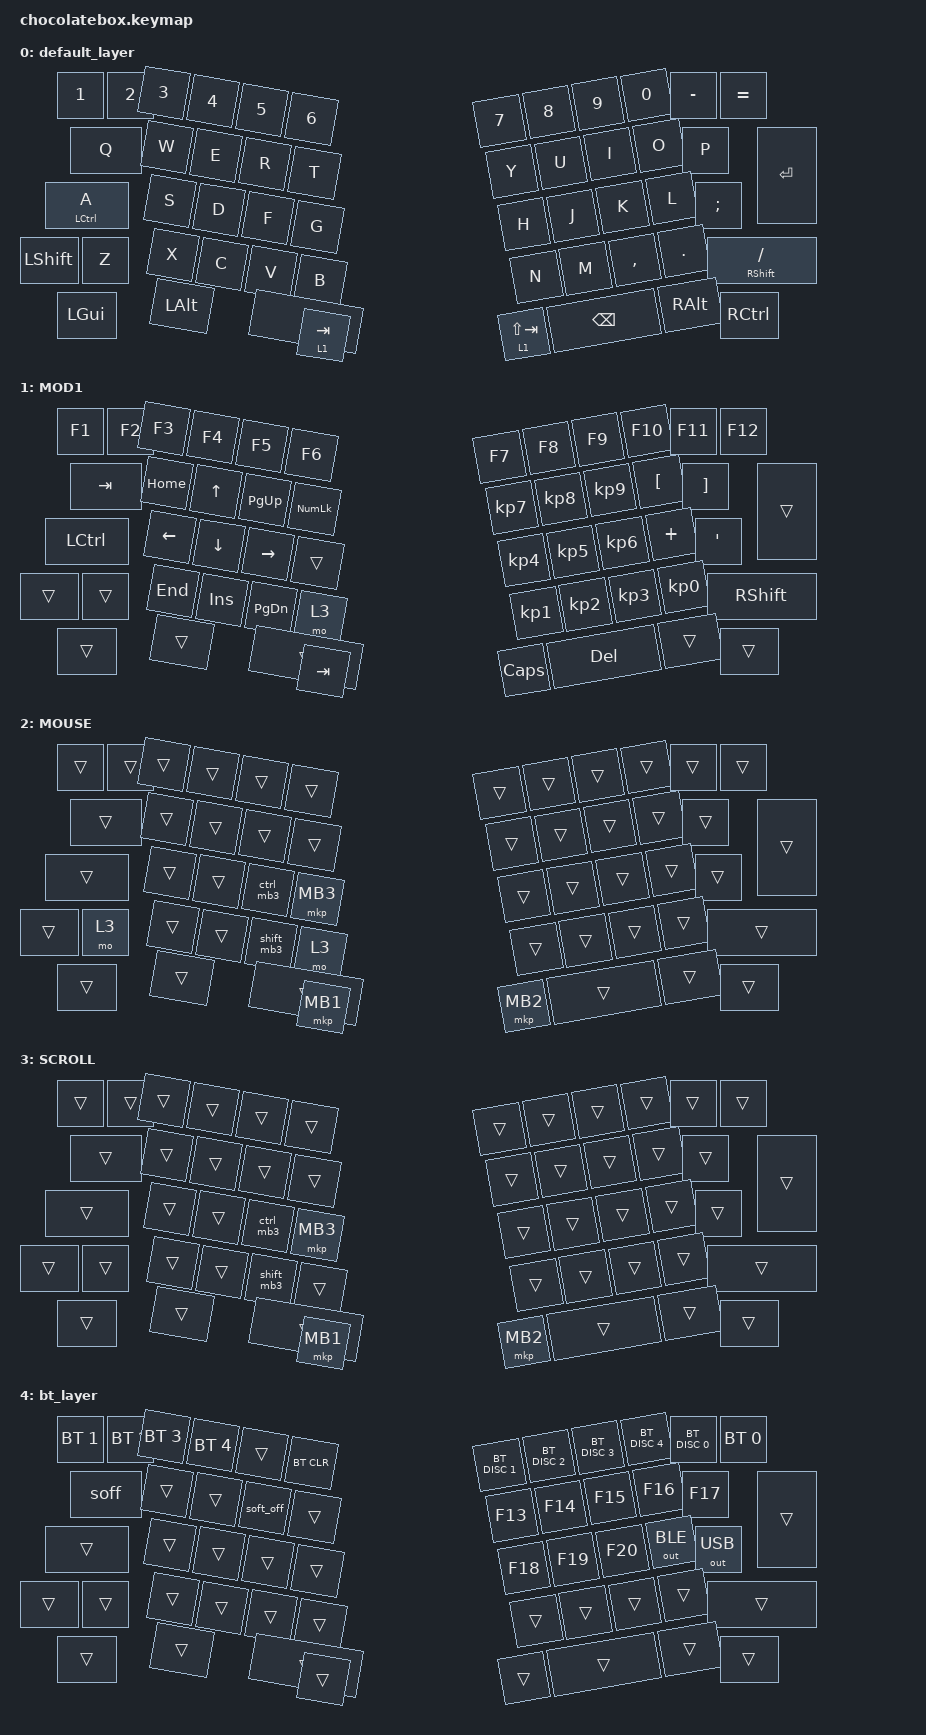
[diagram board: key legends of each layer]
#include <dt-bindings/zmk/mouse.h>
#include <behaviors.dtsi>
#include <dt-bindings/zmk/bt.h>
#include <dt-bindings/zmk/keys.h>
#include <dt-bindings/zmk/outputs.h>
#include <dt-bindings/zmk/pointing.h>

#define BASE   0
#define MOD1   1
#define MOUSE  2
#define SCROLL 3
#define BT_LAYER 4
#define CAD_MOUSE 5

&mt {
    flavor = "tap-preferred";
    tapping-term-ms = <225>;
    quick-tap-ms = <200>;
    require-prior-idle-ms = <150>;
};

&lt {
    flavor = "balanced";
    tapping-term-ms = <175>;
    quick-tap-ms = <200>;
};

/ {
    behaviors {
        soff: soft_off {
            compatible = "zmk,behavior-soft-off";
            #binding-cells = <0>;
            hold-time-ms = <3000>;
        };

        lt_atok: lt_atok {
            compatible = "zmk,behavior-hold-tap";
            label = "LT_ATOK";
            bindings = <&lt>, <&atok>;

            #binding-cells = <2>;
            tapping-term-ms = <250>;
        };
    };

    combos {
        compatible = "zmk,combos";

        Combo1 {
            bindings = <&kp ESCAPE>;
            key-positions = <0 1>;
            layers = <0>;
        };

        rbkt {
            bindings = <&kp RBKT>;
            key-positions = <20 21>;
            layers = <0>;
        };

        lbkt {
            bindings = <&kp LBKT>;
            key-positions = <19 20>;
            layers = <0>;
        };

        grave {
            bindings = <&kp GRAVE>;
            key-positions = <9 10>;
            layers = <0>;
        };

        backslash {
            bindings = <&kp BSLH>;
            key-positions = <10 11>;
            layers = <0>;
        };

        bt_layer {
            bindings = <&mo 4>;
            key-positions = <47 48>;
            layers = <0>;
        };

        scroll_layer {
            bindings = <&mo 3>;
            key-positions = <38 47>;
            layers = <2>;
        };

        esc_mouse {
            bindings = <&kp ESCAPE>;
            key-positions = <0 1>;
            layers = <2>;
        };

        codeclick {
            bindings = <&kp F4>;
            key-positions = <27 28>;
            layers = <2>;
        };
    };

    macros {
        atok: atok {
            compatible = "zmk,behavior-macro";
            #binding-cells = <0>;
            bindings =
                <&macro_press>,
                <&kp LCTRL>,
                <&macro_tap>,
                <&kp SPACE>,
                <&macro_release>,
                <&kp LCTRL>;
        };

        shift_mb3: shift_mb3 {
            compatible = "zmk,behavior-macro";
            #binding-cells = <0>;
            bindings =
                <&macro_press>,
                <&kp LSHFT &mkp MB3>,
                <&macro_pause_for_release>,
                <&macro_release>,
                <&mkp MB3 &kp LSHFT>;
        };

        tab_fwd: tab_fwd {
            compatible = "zmk,behavior-macro";
            #binding-cells = <0>;
            bindings = <&kp LALT &kp LSHIFT &kp PAGE_DOWN>;
            label = "TAB_FWD";
        };

        tab_back: tab_back {
            compatible = "zmk,behavior-macro";
            #binding-cells = <0>;
            bindings = <&kp LEFT_ALT &kp LSHIFT &kp PG_UP>;
            label = "TAB_BACK";
        };

        ctrl_mb3: ctrl_mb3 {
            compatible = "zmk,behavior-macro";
            #binding-cells = <0>;
            bindings =
                <&macro_press>,
                <&kp LCTRL &mkp MB3>,
                <&macro_pause_for_release>,
                <&macro_release>,
                <&mkp MB3 &kp LCTRL>;

            label = "CTRL_MB3";
        };
    };

    keymap {
        compatible = "zmk,keymap";

        default_layer {
            bindings = <
&kp N1      &kp N2       &kp N3    &kp N4  &kp N5     &kp N6     &kp N7         &kp N8    &kp N9     &kp N0    &kp MINUS         &kp EQUAL
            &kp Q        &kp W     &kp E   &kp R      &kp T      &kp Y          &kp U     &kp I      &kp O     &kp P             &kp ENTER
            &mt LCTRL A  &kp S     &kp D   &kp F      &kp G      &kp H          &kp J     &kp K      &kp L     &kp SEMICOLON
&kp LSHIFT  &kp Z        &kp X     &kp C   &kp V      &kp B      &kp N          &kp M     &kp COMMA  &kp DOT   &mt RSHIFT SLASH
            &kp LGUI     &kp LALT          &kp SPACE  &lt 1 TAB  &lt 1 LS(TAB)  &kp BSPC             &kp RALT  &kp RCTRL
            >;
        };

        mod_layer {
            display-name = "MOD1";
            bindings = <
&kp F1  &kp F2     &kp F3    &kp F4    &kp F5     &kp F6      &kp F7        &kp F8      &kp F9     &kp F10    &kp F11     &kp F12
        &kp TAB    &kp HOME  &kp UP    &kp PG_UP  &kp KP_NUM  &kp KP_N7     &kp KP_N8   &kp KP_N9  &kp LBKT   &kp RBKT    &trans
        &kp LCTRL  &kp LEFT  &kp DOWN  &kp RIGHT  &trans      &kp KP_N4     &kp KP_N5   &kp KP_N6  &kp PLUS   &kp SQT
&trans  &trans     &kp END   &kp INS   &kp PG_DN  &mo 3       &kp KP_N1     &kp KP_N2   &kp KP_N3  &kp KP_N0  &kp RSHIFT
        &trans     &trans              &trans     &kp TAB     &kp CAPSLOCK  &kp DELETE             &trans     &trans
            >;
        };

        mouse_layer {
            display-name = "MOUSE";
            bindings = <
&trans  &trans  &trans  &trans  &trans      &trans    &trans    &trans  &trans  &trans  &trans  &trans
        &trans  &trans  &trans  &trans      &trans    &trans    &trans  &trans  &trans  &trans  &trans
        &trans  &trans  &trans  &ctrl_mb3   &mkp MB3  &trans    &trans  &trans  &trans  &trans
&trans  &mo 3   &trans  &trans  &shift_mb3  &mo 3     &trans    &trans  &trans  &trans  &trans
        &trans  &trans          &trans      &mkp MB1  &mkp MB2  &trans          &trans  &trans
            >;
        };

        scroll_layer {
            display-name = "SCROLL";
            bindings = <
&trans  &trans  &trans  &trans  &trans      &trans    &trans    &trans  &trans  &trans  &trans  &trans
        &trans  &trans  &trans  &trans      &trans    &trans    &trans  &trans  &trans  &trans  &trans
        &trans  &trans  &trans  &ctrl_mb3   &mkp MB3  &trans    &trans  &trans  &trans  &trans
&trans  &trans  &trans  &trans  &shift_mb3  &trans    &trans    &trans  &trans  &trans  &trans
        &trans  &trans          &trans      &mkp MB1  &mkp MB2  &trans          &trans  &trans
            >;
        };

        bt_layer {
            bindings = <
&bt BT_SEL 1  &bt BT_SEL 2  &bt BT_SEL 3  &bt BT_SEL 4  &trans     &bt BT_CLR  &bt BT_DISC 1  &bt BT_DISC 2  &bt BT_DISC 3  &bt BT_DISC 4  &bt BT_DISC 0  &bt BT_SEL 0
              &soff         &trans        &trans        &soft_off  &trans      &kp F13        &kp F14        &kp F15        &kp F16        &kp F17        &trans
              &trans        &trans        &trans        &trans     &trans      &kp F18        &kp F19        &kp F20        &out OUT_BLE   &out OUT_USB
&trans        &trans        &trans        &trans        &trans     &trans      &trans         &trans         &trans         &trans         &trans
              &trans        &trans                      &trans     &trans      &trans         &trans                        &trans         &trans
            >;
        };
    };
};
